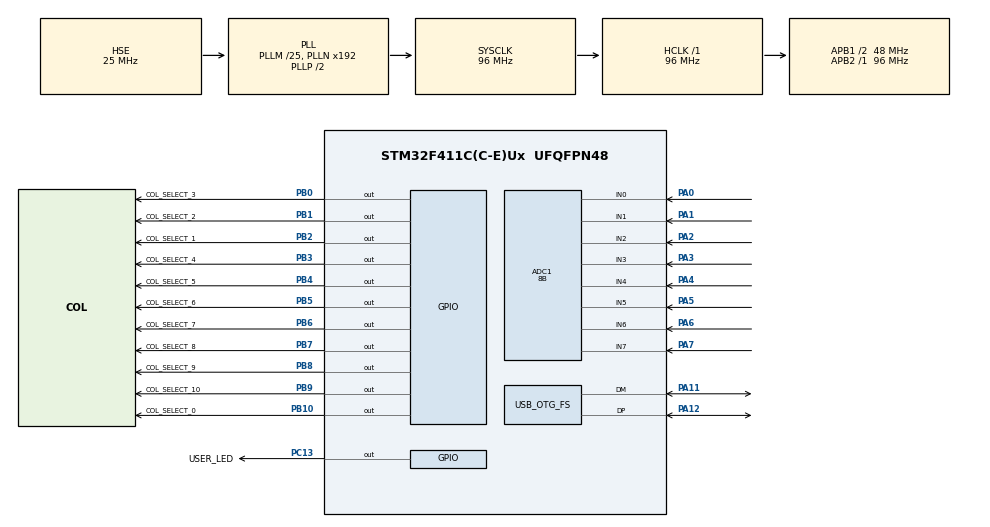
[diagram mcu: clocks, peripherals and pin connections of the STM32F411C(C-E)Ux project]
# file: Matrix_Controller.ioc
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ADC1.Channel-0\#ChannelRegularConversion=ADC_CHANNEL_0
ADC1.Channel-1\#ChannelRegularConversion=ADC_CHANNEL_1
ADC1.Channel-2\#ChannelRegularConversion=ADC_CHANNEL_2
ADC1.Channel-3\#ChannelRegularConversion=ADC_CHANNEL_3
ADC1.Channel-4\#ChannelRegularConversion=ADC_CHANNEL_4
ADC1.Channel-5\#ChannelRegularConversion=ADC_CHANNEL_5
ADC1.Channel-6\#ChannelRegularConversion=ADC_CHANNEL_6
ADC1.Channel-7\#ChannelRegularConversion=ADC_CHANNEL_7
ADC1.ClockPrescaler=ADC_CLOCK_SYNC_PCLK_DIV4
ADC1.ContinuousConvMode=DISABLE
ADC1.DMAContinuousRequests=ENABLE
ADC1.DiscontinuousConvMode=ENABLE
ADC1.EOCSelection=ADC_EOC_SEQ_CONV
ADC1.NbrOfConversion=8
ADC1.NbrOfConversionFlag=1
ADC1.NbrOfDiscConversion=8
ADC1.Rank-0\#ChannelRegularConversion=1
ADC1.Rank-1\#ChannelRegularConversion=2
ADC1.Rank-2\#ChannelRegularConversion=3
ADC1.Rank-3\#ChannelRegularConversion=4
ADC1.Rank-4\#ChannelRegularConversion=5
ADC1.Rank-5\#ChannelRegularConversion=6
ADC1.Rank-6\#ChannelRegularConversion=7
ADC1.Rank-7\#ChannelRegularConversion=8
ADC1.Resolution=ADC_RESOLUTION_8B
ADC1.SamplingTime-0\#ChannelRegularConversion=ADC_SAMPLETIME_3CYCLES
ADC1.SamplingTime-1\#ChannelRegularConversion=ADC_SAMPLETIME_3CYCLES
ADC1.SamplingTime-2\#ChannelRegularConversion=ADC_SAMPLETIME_3CYCLES
ADC1.SamplingTime-3\#ChannelRegularConversion=ADC_SAMPLETIME_3CYCLES
ADC1.SamplingTime-4\#ChannelRegularConversion=ADC_SAMPLETIME_3CYCLES
ADC1.SamplingTime-5\#ChannelRegularConversion=ADC_SAMPLETIME_3CYCLES
ADC1.SamplingTime-6\#ChannelRegularConversion=ADC_SAMPLETIME_3CYCLES
ADC1.SamplingTime-7\#ChannelRegularConversion=ADC_SAMPLETIME_3CYCLES
ADC1.ScanConvMode=ENABLE
ADC1.master=1
Dma.ADC1.0.Direction=DMA_PERIPH_TO_MEMORY
Dma.ADC1.0.FIFOMode=DMA_FIFOMODE_DISABLE
Dma.ADC1.0.Instance=DMA2_Stream0
Dma.ADC1.0.MemDataAlignment=DMA_MDATAALIGN_HALFWORD
Dma.ADC1.0.MemInc=DMA_MINC_ENABLE
Dma.ADC1.0.Mode=DMA_NORMAL
Dma.ADC1.0.PeriphDataAlignment=DMA_PDATAALIGN_HALFWORD
Dma.ADC1.0.PeriphInc=DMA_PINC_DISABLE
Dma.ADC1.0.Priority=DMA_PRIORITY_MEDIUM
Dma.MEMTOMEM.1.Direction=DMA_MEMORY_TO_MEMORY
Dma.MEMTOMEM.1.FIFOMode=DMA_FIFOMODE_ENABLE
Dma.MEMTOMEM.1.FIFOThreshold=DMA_FIFO_THRESHOLD_FULL
Dma.MEMTOMEM.1.Instance=DMA2_Stream1
Dma.MEMTOMEM.1.MemBurst=DMA_MBURST_SINGLE
Dma.MEMTOMEM.1.MemDataAlignment=DMA_MDATAALIGN_BYTE
Dma.MEMTOMEM.1.MemInc=DMA_MINC_ENABLE
Dma.MEMTOMEM.1.Mode=DMA_NORMAL
Dma.MEMTOMEM.1.PeriphBurst=DMA_PBURST_SINGLE
Dma.MEMTOMEM.1.PeriphDataAlignment=DMA_PDATAALIGN_BYTE
Dma.MEMTOMEM.1.PeriphInc=DMA_PINC_ENABLE
Dma.MEMTOMEM.1.Priority=DMA_PRIORITY_MEDIUM
Dma.Request0=ADC1
Dma.Request1=MEMTOMEM
Mcu.Family=STM32F4
Mcu.Name=STM32F411C(C-E)Ux
Mcu.Package=UFQFPN48
NVIC.DMA2_Stream0_IRQn=true\:0\:0\:false\:false\:true\:false\:true
NVIC.DMA2_Stream1_IRQn=true\:0\:0\:false\:false\:true\:true\:true
NVIC.OTG_FS_IRQn=true\:0\:0\:false\:false\:true\:false\:true
NVIC.PriorityGroup=NVIC_PRIORITYGROUP_4
NVIC.TIM1_BRK_TIM9_IRQn=true\:0\:0\:false\:false\:true\:true\:true
PA0-WKUP.Signal=ADCx_IN0
PA1.Signal=ADCx_IN1
PA11.Mode=Device_Only
PA11.Signal=USB_OTG_FS_DM
PA12.Mode=Device_Only
PA12.Signal=USB_OTG_FS_DP
PA13.Mode=Serial_Wire
PA13.Signal=SYS_JTMS-SWDIO
PA14.Mode=Serial_Wire
PA14.Signal=SYS_JTCK-SWCLK
PA2.Signal=ADCx_IN2
PA3.Signal=ADCx_IN3
PA4.Signal=ADCx_IN4
PA5.Signal=ADCx_IN5
PA6.Signal=ADCx_IN6
PA7.Signal=ADCx_IN7
PB0.GPIO_Label=COL_SELECT_3
PB0.GPIO_Speed=GPIO_SPEED_FREQ_VERY_HIGH
PB0.Signal=GPIO_Output
PB1.GPIO_Label=COL_SELECT_2
PB1.GPIO_Speed=GPIO_SPEED_FREQ_VERY_HIGH
PB1.Signal=GPIO_Output
PB10.GPIO_Label=COL_SELECT_0
PB10.GPIO_Speed=GPIO_SPEED_FREQ_VERY_HIGH
PB10.Signal=GPIO_Output
PB2.GPIO_Label=COL_SELECT_1
PB2.GPIO_Speed=GPIO_SPEED_FREQ_VERY_HIGH
PB2.Signal=GPIO_Output
PB3.GPIO_Label=COL_SELECT_4
PB3.GPIO_Speed=GPIO_SPEED_FREQ_VERY_HIGH
PB3.Signal=GPIO_Output
PB4.GPIO_Label=COL_SELECT_5
PB4.GPIO_Speed=GPIO_SPEED_FREQ_VERY_HIGH
PB4.Signal=GPIO_Output
PB5.GPIO_Label=COL_SELECT_6
PB5.GPIO_Speed=GPIO_SPEED_FREQ_VERY_HIGH
PB5.Signal=GPIO_Output
PB6.GPIO_Label=COL_SELECT_7
PB6.GPIO_Speed=GPIO_SPEED_FREQ_VERY_HIGH
PB6.Signal=GPIO_Output
PB7.GPIO_Label=COL_SELECT_8
PB7.GPIO_Speed=GPIO_SPEED_FREQ_VERY_HIGH
PB7.Signal=GPIO_Output
PB8.GPIO_Label=COL_SELECT_9
PB8.GPIO_Speed=GPIO_SPEED_FREQ_VERY_HIGH
PB8.Signal=GPIO_Output
PB9.GPIO_Label=COL_SELECT_10
PB9.GPIO_Speed=GPIO_SPEED_FREQ_VERY_HIGH
PB9.Signal=GPIO_Output
PC13-ANTI_TAMP.GPIO_Label=USER_LED
PC13-ANTI_TAMP.Signal=GPIO_Output
PH0\ -\ OSC_IN.Mode=HSE-External-Oscillator
PH0\ -\ OSC_IN.Signal=RCC_OSC_IN
PH1\ -\ OSC_OUT.Mode=HSE-External-Oscillator
PH1\ -\ OSC_OUT.Signal=RCC_OSC_OUT
ProjectManager.HeapSize=0x200
ProjectManager.StackSize=0x400
ProjectManager.TargetToolchain=STM32CubeIDE
RCC.48MHZClocksFreq_Value=48000000
RCC.AHBFreq_Value=96000000
RCC.APB1CLKDivider=RCC_HCLK_DIV2
RCC.APB1Freq_Value=48000000
RCC.APB1TimFreq_Value=96000000
RCC.APB2Freq_Value=96000000
RCC.APB2TimFreq_Value=96000000
RCC.CortexFreq_Value=96000000
RCC.HCLKFreq_Value=96000000
RCC.HSE_VALUE=25000000
RCC.HSI_VALUE=16000000
RCC.LSE_VALUE=32768
RCC.PLLM=25
RCC.SYSCLKFreq_VALUE=96000000
RCC.SYSCLKSource=RCC_SYSCLKSOURCE_PLLCLK
RCC.VCOOutputFreq_Value=192000000
SH.ADCx_IN0.0=ADC1_IN0,IN0
SH.ADCx_IN1.0=ADC1_IN1,IN1
SH.ADCx_IN2.0=ADC1_IN2,IN2
SH.ADCx_IN3.0=ADC1_IN3,IN3
SH.ADCx_IN4.0=ADC1_IN4,IN4
SH.ADCx_IN5.0=ADC1_IN5,IN5
SH.ADCx_IN6.0=ADC1_IN6,IN6
SH.ADCx_IN7.0=ADC1_IN7,IN7
TIM9.AutoReloadPreload=TIM_AUTORELOAD_PRELOAD_ENABLE
TIM9.Period=9600 - 1
TIM9.Prescaler=100 - 1
USB_DEVICE.CLASS_NAME_FS=CDC
USB_DEVICE.VirtualMode=Cdc
USB_DEVICE.VirtualModeFS=Cdc_FS
USB_OTG_FS.VirtualMode=Device_Only
VP_TIM9_VS_ClockSourceINT.Mode=Internal
VP_USB_DEVICE_VS_USB_DEVICE_CDC_FS.Mode=CDC_FS
board=custom

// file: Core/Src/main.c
/* USER CODE BEGIN Header */
/**
  ******************************************************************************
  * @file           : main.c
  * @brief          : Main program body
  ******************************************************************************
  *
  * 	TODO: not working sensors are
  * 	R2, R7, R18, R24, R35, R58, R64, R72
  *
  *
  *
  * @attention
  *
  * <h2><center>&copy; Copyright (c) 2021 STMicroelectronics.
  * All rights reserved.</center></h2>
  *
  * This software component is licensed by ST under BSD 3-Clause license,
  * the "License"; You may not use this file except in compliance with the
  * License. You may obtain a copy of the License at:
  *                        opensource.org/licenses/BSD-3-Clause
  *
  ******************************************************************************
  */
/* USER CODE END Header */
#include "main.h"
#include "usb_device.h"

/* USER CODE BEGIN Includes */

#include "usbd_cdc_if.h"			// usb transmit util
#include "matrix_util.h"

/* USER CODE END Includes */

/* USER CODE BEGIN PD */

#define ANALOG_OUTPUT

#define SIDE 'R'
/* USER CODE END PD */

ADC_HandleTypeDef hadc1;
DMA_HandleTypeDef hdma_adc1;

TIM_HandleTypeDef htim9;

DMA_HandleTypeDef hdma_memtomem_dma2_stream1;
/* USER CODE BEGIN PV */

volatile uint16_t raw_data[N_COL][N_ROW];				// form [COL][ROW] used, as data is generated column by column, so indexing is easier

uint8_t bool_matrix[N_COL];											// form: [COL] used, rows are represented by each byte, bit 0: row 0

volatile uint8_t active_col = 0;								// holds the active column that is currently processed

volatile int8_t adc_error = 0;				// 1 indicates an error
volatile int8_t adc_complete = 0;			// 1 indicates matrix scan complete

volatile char usb_rx_buffer[2048];							// buffer for usb rx data to be stored for processing
volatile uint8_t usb_rec = 0;

/* USER CODE END PV */

void SystemClock_Config(void);
static void MX_GPIO_Init(void);
static void MX_DMA_Init(void);
static void MX_ADC1_Init(void);
static void MX_TIM9_Init(void);
/* USER CODE BEGIN PFP */

void DMA2_Mem2MemCallback( struct __DMA_HandleTypeDef * hdma);

/* USER CODE END PFP */

int main(void)
{

  /* MCU Configuration--------------------------------------------------------*/

  /* Reset of all peripherals, Initializes the Flash interface and the Systick. */
  HAL_Init();

  /* Configure the system clock */
  SystemClock_Config();

  /* Initialize all configured peripherals */
  MX_GPIO_Init();
  MX_DMA_Init();
  MX_ADC1_Init();
  MX_TIM9_Init();
  MX_USB_DEVICE_Init();
  /* USER CODE BEGIN 2 */

  // set callback for mem2mem dma transfer on usb receive
  HAL_DMA_RegisterCallback(&hdma_memtomem_dma2_stream1, HAL_DMA_XFER_CPLT_CB_ID, &DMA2_Mem2MemCallback);

  matr_get_baselevel(hadc1);								// determine the base light level

  HAL_TIM_Base_Start_IT(&htim9);						// starts time base for regular ADC scans

  /* USER CODE END 2 */

  /* Infinite loop */
  /* USER CODE BEGIN WHILE */

  char usb_buffer[N_ROW * N_COL * 2] = {0};

  while (1)
  {

  	if(adc_error == 1){
			adc_error = 0;
			// sprintf(output, "ADC Error\r\n");
			// HAL_UART_Transmit(&huart1, (uint8_t*)output, strlen(output), HAL_MAX_DELAY);
			while(1);
		}

  	if(usb_rec == 1 && adc_complete == 1){

  		adc_complete = 0;
  		usb_rec = 0;

  		if(usb_rx_buffer[0] == '?')
  		{
  			sprintf(usb_buffer, "%c\n", SIDE);
				CDC_Transmit_FS((uint8_t*)usb_buffer, strlen(usb_buffer));
				continue;
  		}

#ifdef ANALOG_OUTPUT

  			  		//sprintf(usb_buffer, "\033[2J");
  						//sprintf(usb_buffer, "\n\n");
  			  		//CDC_Transmit_FS((uint8_t*)usb_buffer, strlen(usb_buffer));		// clear screen

  			  		for(int i = 0; i < N_ROW; i++){
  			  			// sprintf(usb_buffer, "%d,%d,%d,%d,%d,%d,%d,%d,%d,%d,%d", raw_data[0][i], raw_data[1][i], raw_data[2][i], raw_data[3][i], raw_data[4][i], raw_data[5][i], raw_data[6][i], raw_data[7][i], raw_data[8][i], raw_data[9][i], raw_data[10][i]);
								if(i < 7)
	  			  			sprintf(usb_buffer, "%d,%d,%d,%d,%d,%d,%d,%d,%d,%d,%d\t", raw_data[0][i], raw_data[1][i], raw_data[2][i], raw_data[3][i], raw_data[4][i], raw_data[5][i], raw_data[6][i], raw_data[7][i], raw_data[8][i], raw_data[9][i], raw_data[10][i]);
								else
	  			  			sprintf(usb_buffer, "%d,%d,%d,%d,%d,%d,%d,%d,%d,%d,%d\n", raw_data[0][i], raw_data[1][i], raw_data[2][i], raw_data[3][i], raw_data[4][i], raw_data[5][i], raw_data[6][i], raw_data[7][i], raw_data[8][i], raw_data[9][i], raw_data[10][i]);

								CDC_Transmit_FS((uint8_t*)usb_buffer, strlen(usb_buffer));
								HAL_Delay(1);
  			  		}

#else
#ifdef BINARY_OUTPUT
  			  		matr_compare(raw_data, bool_matrix);

							sprintf(usb_buffer, "%d,%d,%d,%d,%d,%d,%d,%d,%d,%d,%d\n", bool_matrix[0], bool_matrix[1], bool_matrix[2], bool_matrix[3], bool_matrix[4], bool_matrix[5], bool_matrix[6], bool_matrix[7], bool_matrix[8], bool_matrix[9], bool_matrix[10] );
							CDC_Transmit_FS((uint8_t*)usb_buffer, strlen(usb_buffer));
							o = 0;
#else
#ifdef RAW_OUTPUT

							for(int i = 0; i < N_ROW; i++){
								for(int j = 0; j < N_COL; j++){
									usb_buffer[i * N_COL + j] = (raw_data[j][i] == 0) ? (char)1 : (char)(raw_data[j][i] & 0xFF);
//									usb_buffer[i * N_COL + j] = i * 8+j;
								}

							}
							CDC_Transmit_FS((uint8_t*)usb_buffer, (N_ROW * N_COL));

#endif
#endif
#endif

  	}

    /* USER CODE END WHILE */

  }
}

void SystemClock_Config(void)
{
  RCC_OscInitTypeDef RCC_OscInitStruct = {0};
  RCC_ClkInitTypeDef RCC_ClkInitStruct = {0};

  /** Configure the main internal regulator output voltage
  */
  __HAL_RCC_PWR_CLK_ENABLE();
  __HAL_PWR_VOLTAGESCALING_CONFIG(PWR_REGULATOR_VOLTAGE_SCALE1);
  /** Initializes the RCC Oscillators according to the specified parameters
  * in the RCC_OscInitTypeDef structure.
  */
  RCC_OscInitStruct.OscillatorType = RCC_OSCILLATORTYPE_HSE;
  RCC_OscInitStruct.HSEState = RCC_HSE_ON;
  RCC_OscInitStruct.PLL.PLLState = RCC_PLL_ON;
  RCC_OscInitStruct.PLL.PLLSource = RCC_PLLSOURCE_HSE;
  RCC_OscInitStruct.PLL.PLLM = 25;
  RCC_OscInitStruct.PLL.PLLN = 192;
  RCC_OscInitStruct.PLL.PLLP = RCC_PLLP_DIV2;
  RCC_OscInitStruct.PLL.PLLQ = 4;
  if (HAL_RCC_OscConfig(&RCC_OscInitStruct) != HAL_OK)
  {
    Error_Handler();
  }
  /** Initializes the CPU, AHB and APB buses clocks
  */
  RCC_ClkInitStruct.ClockType = RCC_CLOCKTYPE_HCLK|RCC_CLOCKTYPE_SYSCLK
                              |RCC_CLOCKTYPE_PCLK1|RCC_CLOCKTYPE_PCLK2;
  RCC_ClkInitStruct.SYSCLKSource = RCC_SYSCLKSOURCE_PLLCLK;
  RCC_ClkInitStruct.AHBCLKDivider = RCC_SYSCLK_DIV1;
  RCC_ClkInitStruct.APB1CLKDivider = RCC_HCLK_DIV2;
  RCC_ClkInitStruct.APB2CLKDivider = RCC_HCLK_DIV1;

  if (HAL_RCC_ClockConfig(&RCC_ClkInitStruct, FLASH_LATENCY_3) != HAL_OK)
  {
    Error_Handler();
  }
}

static void MX_ADC1_Init(void)
{

  ADC_ChannelConfTypeDef sConfig = {0};

  /** Configure the global features of the ADC (Clock, Resolution, Data Alignment and number of conversion)
  */
  hadc1.Instance = ADC1;
  hadc1.Init.ClockPrescaler = ADC_CLOCK_SYNC_PCLK_DIV4;
  hadc1.Init.Resolution = ADC_RESOLUTION_8B;
  hadc1.Init.ScanConvMode = ENABLE;
  hadc1.Init.ContinuousConvMode = DISABLE;
  hadc1.Init.DiscontinuousConvMode = ENABLE;
  hadc1.Init.NbrOfDiscConversion = 8;
  hadc1.Init.ExternalTrigConvEdge = ADC_EXTERNALTRIGCONVEDGE_NONE;
  hadc1.Init.ExternalTrigConv = ADC_SOFTWARE_START;
  hadc1.Init.DataAlign = ADC_DATAALIGN_RIGHT;
  hadc1.Init.NbrOfConversion = 8;
  hadc1.Init.DMAContinuousRequests = ENABLE;
  hadc1.Init.EOCSelection = ADC_EOC_SEQ_CONV;
  if (HAL_ADC_Init(&hadc1) != HAL_OK)
  {
    Error_Handler();
  }
  /** Configure for the selected ADC regular channel its corresponding rank in the sequencer and its sample time.
  */
  sConfig.Channel = ADC_CHANNEL_0;
  sConfig.Rank = 1;
  sConfig.SamplingTime = ADC_SAMPLETIME_3CYCLES;
  if (HAL_ADC_ConfigChannel(&hadc1, &sConfig) != HAL_OK)
  {
    Error_Handler();
  }
  /** Configure for the selected ADC regular channel its corresponding rank in the sequencer and its sample time.
  */
  sConfig.Channel = ADC_CHANNEL_1;
  sConfig.Rank = 2;
  if (HAL_ADC_ConfigChannel(&hadc1, &sConfig) != HAL_OK)
  {
    Error_Handler();
  }
  /** Configure for the selected ADC regular channel its corresponding rank in the sequencer and its sample time.
  */
  sConfig.Channel = ADC_CHANNEL_2;
  sConfig.Rank = 3;
  if (HAL_ADC_ConfigChannel(&hadc1, &sConfig) != HAL_OK)
  {
    Error_Handler();
  }
  /** Configure for the selected ADC regular channel its corresponding rank in the sequencer and its sample time.
  */
  sConfig.Channel = ADC_CHANNEL_3;
  sConfig.Rank = 4;
  if (HAL_ADC_ConfigChannel(&hadc1, &sConfig) != HAL_OK)
  {
    Error_Handler();
  }
  /** Configure for the selected ADC regular channel its corresponding rank in the sequencer and its sample time.
  */
  sConfig.Channel = ADC_CHANNEL_4;
  sConfig.Rank = 5;
  if (HAL_ADC_ConfigChannel(&hadc1, &sConfig) != HAL_OK)
  {
    Error_Handler();
  }
  /** Configure for the selected ADC regular channel its corresponding rank in the sequencer and its sample time.
  */
  sConfig.Channel = ADC_CHANNEL_5;
  sConfig.Rank = 6;
  if (HAL_ADC_ConfigChannel(&hadc1, &sConfig) != HAL_OK)
  {
    Error_Handler();
  }
  /** Configure for the selected ADC regular channel its corresponding rank in the sequencer and its sample time.
  */
  sConfig.Channel = ADC_CHANNEL_6;
  sConfig.Rank = 7;
  if (HAL_ADC_ConfigChannel(&hadc1, &sConfig) != HAL_OK)
  {
    Error_Handler();
  }
  /** Configure for the selected ADC regular channel its corresponding rank in the sequencer and its sample time.
  */
  sConfig.Channel = ADC_CHANNEL_7;
  sConfig.Rank = 8;
  if (HAL_ADC_ConfigChannel(&hadc1, &sConfig) != HAL_OK)
  {
    Error_Handler();
  }

}

static void MX_TIM9_Init(void)
{

  TIM_ClockConfigTypeDef sClockSourceConfig = {0};

  htim9.Instance = TIM9;
  htim9.Init.Prescaler = 100 - 1;
  htim9.Init.CounterMode = TIM_COUNTERMODE_UP;
  htim9.Init.Period = 9600 - 1;
  htim9.Init.ClockDivision = TIM_CLOCKDIVISION_DIV1;
  htim9.Init.AutoReloadPreload = TIM_AUTORELOAD_PRELOAD_ENABLE;
  if (HAL_TIM_Base_Init(&htim9) != HAL_OK)
  {
    Error_Handler();
  }
  sClockSourceConfig.ClockSource = TIM_CLOCKSOURCE_INTERNAL;
  if (HAL_TIM_ConfigClockSource(&htim9, &sClockSourceConfig) != HAL_OK)
  {
    Error_Handler();
  }

}

static void MX_DMA_Init(void)
{

  /* DMA controller clock enable */
  __HAL_RCC_DMA2_CLK_ENABLE();

  /* Configure DMA request hdma_memtomem_dma2_stream1 on DMA2_Stream1 */
  hdma_memtomem_dma2_stream1.Instance = DMA2_Stream1;
  hdma_memtomem_dma2_stream1.Init.Channel = DMA_CHANNEL_0;
  hdma_memtomem_dma2_stream1.Init.Direction = DMA_MEMORY_TO_MEMORY;
  hdma_memtomem_dma2_stream1.Init.PeriphInc = DMA_PINC_ENABLE;
  hdma_memtomem_dma2_stream1.Init.MemInc = DMA_MINC_ENABLE;
  hdma_memtomem_dma2_stream1.Init.PeriphDataAlignment = DMA_PDATAALIGN_BYTE;
  hdma_memtomem_dma2_stream1.Init.MemDataAlignment = DMA_MDATAALIGN_BYTE;
  hdma_memtomem_dma2_stream1.Init.Mode = DMA_NORMAL;
  hdma_memtomem_dma2_stream1.Init.Priority = DMA_PRIORITY_MEDIUM;
  hdma_memtomem_dma2_stream1.Init.FIFOMode = DMA_FIFOMODE_ENABLE;
  hdma_memtomem_dma2_stream1.Init.FIFOThreshold = DMA_FIFO_THRESHOLD_FULL;
  hdma_memtomem_dma2_stream1.Init.MemBurst = DMA_MBURST_SINGLE;
  hdma_memtomem_dma2_stream1.Init.PeriphBurst = DMA_PBURST_SINGLE;
  if (HAL_DMA_Init(&hdma_memtomem_dma2_stream1) != HAL_OK)
  {
    Error_Handler( );
  }

  /* DMA interrupt init */
  /* DMA2_Stream0_IRQn interrupt configuration */
  HAL_NVIC_SetPriority(DMA2_Stream0_IRQn, 0, 0);
  HAL_NVIC_EnableIRQ(DMA2_Stream0_IRQn);
  /* DMA2_Stream1_IRQn interrupt configuration */
  HAL_NVIC_SetPriority(DMA2_Stream1_IRQn, 0, 0);
  HAL_NVIC_EnableIRQ(DMA2_Stream1_IRQn);

}

static void MX_GPIO_Init(void)
{
  GPIO_InitTypeDef GPIO_InitStruct = {0};

  /* GPIO Ports Clock Enable */
  __HAL_RCC_GPIOC_CLK_ENABLE();
  __HAL_RCC_GPIOH_CLK_ENABLE();
  __HAL_RCC_GPIOA_CLK_ENABLE();
  __HAL_RCC_GPIOB_CLK_ENABLE();

  /*Configure GPIO pin Output Level */
  HAL_GPIO_WritePin(USER_LED_GPIO_Port, USER_LED_Pin, GPIO_PIN_RESET);

  /*Configure GPIO pin Output Level */
  HAL_GPIO_WritePin(GPIOB, COL_SELECT_3_Pin|COL_SELECT_2_Pin|COL_SELECT_1_Pin|COL_SELECT_0_Pin
                          |COL_SELECT_4_Pin|COL_SELECT_5_Pin|COL_SELECT_6_Pin|COL_SELECT_7_Pin
                          |COL_SELECT_8_Pin|COL_SELECT_9_Pin|COL_SELECT_10_Pin, GPIO_PIN_RESET);

  /*Configure GPIO pin : USER_LED_Pin */
  GPIO_InitStruct.Pin = USER_LED_Pin;
  GPIO_InitStruct.Mode = GPIO_MODE_OUTPUT_PP;
  GPIO_InitStruct.Pull = GPIO_NOPULL;
  GPIO_InitStruct.Speed = GPIO_SPEED_FREQ_LOW;
  HAL_GPIO_Init(USER_LED_GPIO_Port, &GPIO_InitStruct);

  /*Configure GPIO pins : COL_SELECT_3_Pin COL_SELECT_2_Pin COL_SELECT_1_Pin COL_SELECT_0_Pin
                           COL_SELECT_4_Pin COL_SELECT_5_Pin COL_SELECT_6_Pin COL_SELECT_7_Pin
                           COL_SELECT_8_Pin COL_SELECT_9_Pin COL_SELECT_10_Pin */
  GPIO_InitStruct.Pin = COL_SELECT_3_Pin|COL_SELECT_2_Pin|COL_SELECT_1_Pin|COL_SELECT_0_Pin
                          |COL_SELECT_4_Pin|COL_SELECT_5_Pin|COL_SELECT_6_Pin|COL_SELECT_7_Pin
                          |COL_SELECT_8_Pin|COL_SELECT_9_Pin|COL_SELECT_10_Pin;
  GPIO_InitStruct.Mode = GPIO_MODE_OUTPUT_PP;
  GPIO_InitStruct.Pull = GPIO_NOPULL;
  GPIO_InitStruct.Speed = GPIO_SPEED_FREQ_VERY_HIGH;
  HAL_GPIO_Init(GPIOB, &GPIO_InitStruct);

}

/* USER CODE BEGIN 4 */

/**
 * @brief Callback function of Timer 9 on overflow: used to start ADC conversion
 */
void HAL_TIM_PeriodElapsedCallback(TIM_HandleTypeDef *htim){

	// dunno if i have to reset interrupt flag

	// prepare for first conversion:
	adc_complete = 0;
	active_col = 0;
	matr_set_col_active(0);
	// start ADC conversion
	HAL_ADC_Start_DMA(&hadc1, (uint32_t*)raw_data[0], N_ROW);

}

/**
 * @brief Callback function when ADC conversion is finished
 */
void HAL_ADC_ConvCpltCallback(ADC_HandleTypeDef* hadc) {

//	HAL_ADC_Stop_DMA(&hadc1);

	active_col = (active_col + 1) % N_COL;

	matr_set_col_active(active_col);

	// TODO: test if delay is needed!
	// HAL_Delay(3);

	if(active_col != 0){
		// start another DMA conversion
		HAL_ADC_Start_DMA(&hadc1, (uint32_t*)raw_data[active_col], N_ROW);
	}
	else{
		// this scan is finnished
		adc_complete = 1;
	}

}

void HAL_ADC_ErrorCallback(ADC_HandleTypeDef* hadc){
	adc_error = 1;
}

void DMA2_Mem2MemCallback( struct __DMA_HandleTypeDef * hdma){
	// new USB data received!
	usb_rec = 1;
}

/* USER CODE END 4 */

void Error_Handler(void)
{
  __disable_irq();
  while (1)
  {
  }
}

/************************ (C) COPYRIGHT STMicroelectronics *****END OF FILE****/
